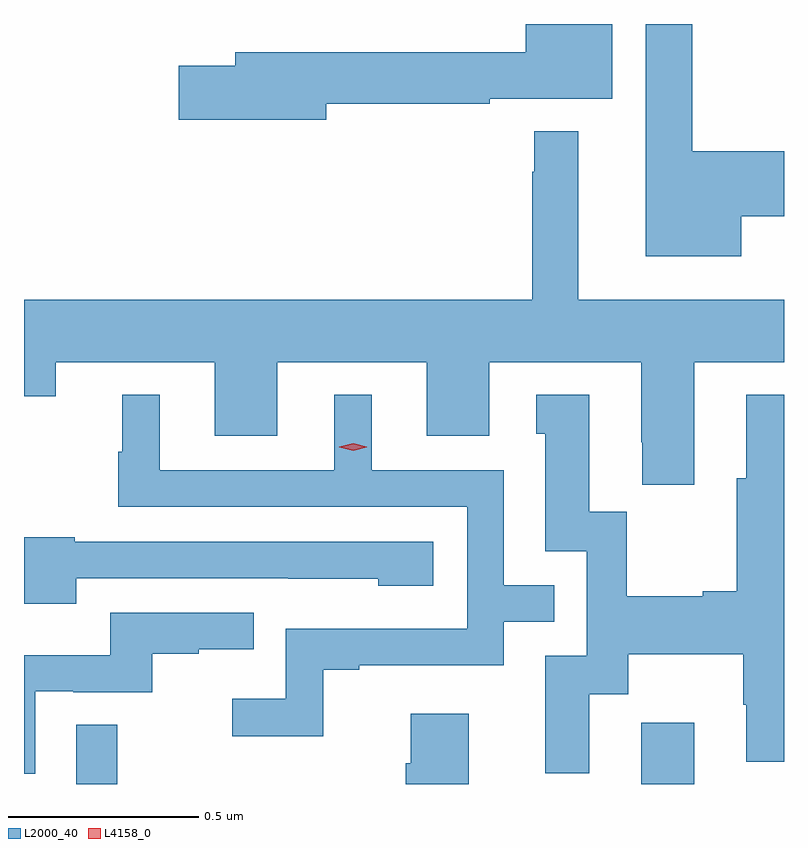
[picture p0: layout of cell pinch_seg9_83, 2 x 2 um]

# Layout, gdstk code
import gdstk
lib = gdstk.Library(unit=1e-6, precision=1e-09)
def R(c, l, rs):  # rectangles x0, y0, x1, y1
    for r in rs: c.add(gdstk.rectangle(r[:2], r[2:], *l))
def P(c, l, *ps):  # polygons
    for p in ps: c.add(gdstk.Polygon(p, *l))
L2000_40 = (2000, 40)
L4158_0 = (4158, 0)

pinch_seg9_83 = lib.new_cell('pinch_seg9_83')
R(pinch_seg9_83, L2000_40, [(1029.312,1171.334,1029.421,1171.49), (1030.799,1171.334,1030.939,1171.495)])
P(pinch_seg9_83, L2000_40, [(1031.062,1172.828),(1031.175,1172.828),(1031.175,1172.999),(1030.933,1172.999),(1030.933,1173.334),(1030.811,1173.334),(1030.811,1172.723),(1031.062,1172.723)],
  [(1029.97,1173.124),(1030.4,1173.124),(1030.4,1173.137),(1030.723,1173.137),(1030.723,1173.334),(1030.496,1173.334),(1030.496,1173.26),(1029.731,1173.26),(1029.731,1173.224),(1029.582,1173.224),(1029.582,1173.082),(1029.97,1173.082)],
  [(1030.939,1172.444),(1031.175,1172.444),(1031.175,1172.608),(1030.633,1172.608),(1030.633,1173.052),(1030.518,1173.052),(1030.518,1172.945),(1030.512,1172.945),(1030.512,1172.608),(1029.175,1172.608),(1029.175,1172.354),(1029.259,1172.354),(1029.259,1172.444),(1029.677,1172.444),(1029.677,1172.25),(1029.841,1172.25),(1029.841,1172.444),(1030.235,1172.444),(1030.235,1172.25),(1030.399,1172.25),(1030.399,1172.444),(1030.799,1172.444),(1030.799,1172.233),(1030.802,1172.233),(1030.802,1172.121),(1030.939,1172.121)],
  [(1030.663,1171.57),(1030.765,1171.57),(1030.765,1171.676),(1031.068,1171.676),(1031.068,1171.542),(1031.075,1171.542),(1031.075,1171.392),(1031.175,1171.392),(1031.175,1172.359),(1031.075,1172.359),(1031.075,1172.139),(1031.05,1172.139),(1031.05,1171.841),(1030.961,1171.841),(1030.961,1171.828),(1030.761,1171.828),(1030.761,1172.051),(1030.663,1172.051),(1030.663,1172.359),(1030.523,1172.359),(1030.523,1172.256),(1030.547,1172.256),(1030.547,1171.947),(1030.656,1171.947),(1030.656,1171.671),(1030.547,1171.671),(1030.547,1171.362),(1030.663,1171.362)],
  [(1029.963,1171.635),(1030.057,1171.635),(1030.057,1171.647),(1030.437,1171.647),(1030.437,1171.761),(1030.571,1171.761),(1030.571,1171.857),(1030.437,1171.857),(1030.437,1172.16),(1030.09,1172.16),(1030.09,1172.359),(1029.992,1172.359),(1029.992,1172.16),(1029.532,1172.16),(1029.532,1172.359),(1029.434,1172.359),(1029.434,1172.208),(1029.423,1172.208),(1029.423,1172.064),(1030.341,1172.064),(1030.341,1171.743),(1029.864,1171.743),(1029.864,1171.558),(1029.723,1171.558),(1029.723,1171.46),(1029.963,1171.46)],
  [(1029.313,1171.875),(1029.871,1171.875),(1029.871,1171.874),(1030.107,1171.874),(1030.107,1171.856),(1030.252,1171.856),(1030.252,1171.971),(1029.309,1171.971),(1029.309,1171.984),(1029.175,1171.984),(1029.175,1171.808),(1029.313,1171.808)],
  [(1029.204,1171.578),(1029.304,1171.578),(1029.304,1171.575),(1029.512,1171.575),(1029.512,1171.677),(1029.635,1171.677),(1029.635,1171.688),(1029.779,1171.688),(1029.779,1171.785),(1029.402,1171.785),(1029.402,1171.673),(1029.175,1171.673),(1029.175,1171.361),(1029.204,1171.361)],
  [(1030.345,1171.519),(1030.193,1171.519),(1030.193,1171.389),(1030.18,1171.389),(1030.18,1171.334),(1030.345,1171.334)])
P(pinch_seg9_83, L4158_0, [(1030.041,1172.211),(1030.005,1172.22),(1030.005,1172.221),(1030.005,1172.221),(1030.041,1172.231),(1030.077,1172.221),(1030.077,1172.221),(1030.077,1172.22)])

lib.write_gds('pinch_seg9_83.gds')
